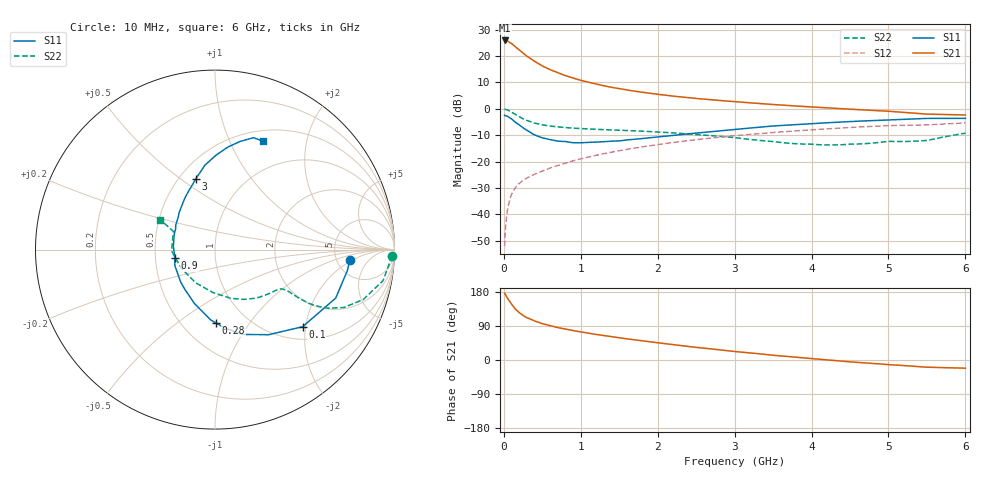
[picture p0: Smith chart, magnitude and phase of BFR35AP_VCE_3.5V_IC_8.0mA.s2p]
! Infineon Technologies  Discrete & RF Semiconductors
! BFR35AP
! VCE =  3.5 V,  IC =  8.0 mA
! Common Emitter S-Parameters:  Nov 2015
# GHz  S  MA  R  50
!  f  S11  S21  S12  S22
! GHz  MAG  ANG  MAG  ANG  MAG  ANG  MAG  ANG
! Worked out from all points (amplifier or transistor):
!   210 points, 10 MHz to 6 GHz, reference 50 ohm
!   highest |S21| = 25.9 dB at 10 MHz (marker M1)
!   |S21| within 3 dB of that: start of sweep to 175.7 MHz
!   unconditionally stable (mu >= 1): 646.9 MHz to 3.349 GHz
!   at 185 MHz: K = 0.49, MSG = 25.7 dB, |S12| = -28.7 dB
!   at 1.52 GHz: K = 1.12, MAG = 9.6 dB, |S12| = -15.8 dB
!   at 6 GHz: K = 0.95, MSG = 1.5 dB, |S12| = -5.3 dB
!   S11 on the Smith chart (normalised r, x): 10 MHz: 6.60, -1.76; 100 MHz: 1.29, -1.92; 280 MHz: 0.72, -0.71; 900 MHz: 0.63, -0.06; 3 GHz: 0.60, +0.57; 6 GHz: 0.63, +1.34
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0.01  0.7525 -4.4  19.79 176.3  0.0025 85.8  0.9866 -2.0
0.02  0.747 -8.9  19.61 172.4  0.0053 82.1  0.9761 -4.2
0.05  0.7248 -21.9  19.25 162.3  0.0129 79.8  0.9524 -10.4
0.1  0.6502 -41.4  17.31 147.2  0.024 71.3  0.872 -18.6
0.15  0.5599 -57.9  15.07 134.2  0.0324 65.6  0.7871 -24.2
0.2  0.4973 -71.9  13.1 124.9  0.0386 62.3  0.7097 -27.4
0.24  0.4488 -80.7  11.65 119.1  0.0432 60.9  0.6597 -28.7
0.28  0.4093 -89.1  10.48 114.0  0.0471 60.5  0.6205 -29.5
0.3  0.3926 -93.5  9.942 111.5  0.049 60.4  0.6027 -29.8
0.4  0.3218 -110.8  7.947 102.9  0.0577 60.3  0.5372 -30.0
0.5  0.2828 -125.0  6.512 95.9  0.0662 61.1  0.4965 -29.8
0.6  0.2629 -136.8  5.544 90.5  0.0754 61.5  0.4724 -29.7
0.7  0.2451 -148.8  4.833 85.6  0.0843 62.1  0.4557 -29.8
0.9  0.2286 -168.0  3.828 77.5  0.1037 62.5  0.4313 -30.5
1.02  0.2283 -177.7  3.416 73.4  0.1146 62.6  0.4219 -31.5
1.4  0.2446 157.5  2.56 61.6  0.151 61.0  0.4004 -36.0
2.02  0.2943 131.3  1.872 44.9  0.2128 56.1  0.3634 -46.6
3  0.4079 105.3  1.371 22.4  0.3102 45.5  0.2855 -72.0
3.1  0.4203 103.4  1.336 20.6  0.3192 44.1  0.274 -75.5
4.1  0.5355 88.0  1.065 2.0  0.4097 31.6  0.2093 -126.2
5.1  0.6243 76.0  0.88 -13.4  0.4839 17.6  0.2405 176.6
6  0.6608 65.9  0.766 -21.6  0.5413 7.4  0.3462 151.4
